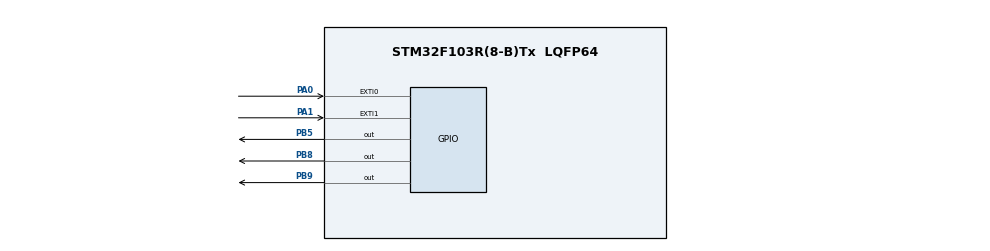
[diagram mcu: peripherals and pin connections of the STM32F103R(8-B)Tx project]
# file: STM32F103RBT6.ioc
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Mcu.Family=STM32F1
Mcu.Name=STM32F103R(8-B)Tx
Mcu.Package=LQFP64
NVIC.EXTI0_IRQn=true\:0\:0\:false\:false\:true\:true\:true\:true
NVIC.EXTI1_IRQn=true\:0\:0\:false\:false\:true\:true\:true\:true
NVIC.PriorityGroup=NVIC_PRIORITYGROUP_4
NVIC.TIM1_BRK_IRQn=true\:0\:0\:false\:false\:true\:true\:true\:true
NVIC.TIM1_CC_IRQn=true\:0\:0\:false\:false\:true\:true\:true\:true
NVIC.TIM1_TRG_COM_IRQn=true\:0\:0\:false\:false\:true\:true\:true\:true
NVIC.TIM1_UP_IRQn=true\:0\:0\:false\:false\:true\:true\:true\:true
NVIC.TIM2_IRQn=true\:0\:0\:false\:false\:true\:true\:true\:true
PA0-WKUP.Signal=GPXTI0
PA1.Signal=GPXTI1
PB5.PinState=GPIO_PIN_RESET
PB5.Signal=GPIO_Output
PB8.PinState=GPIO_PIN_RESET
PB8.Signal=GPIO_Output
PB9.PinState=GPIO_PIN_RESET
PB9.Signal=GPIO_Output
ProjectManager.HeapSize=0x200
ProjectManager.StackSize=0x400
ProjectManager.TargetToolchain=STM32CubeIDE
RCC.APB1Freq_Value=8000000
RCC.APB2Freq_Value=8000000
TIM1.Period=1000
TIM1.Prescaler=8000
TIM2.Period=1000
TIM2.Prescaler=8000
VP_SYS_VS_ND.Mode=No_Debug
VP_TIM1_VS_ClockSourceINT.Mode=Internal
VP_TIM2_VS_ClockSourceINT.Mode=Internal
board=custom

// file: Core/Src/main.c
/* USER CODE BEGIN Header */
/**
  ******************************************************************************
  * @file           : main.c
  * @brief          : Main program body
  ******************************************************************************
  * @attention
  *
  * Copyright (c) 2024 STMicroelectronics.
  * All rights reserved.
  *
  * This software is licensed under terms that can be found in the LICENSE file
  * in the root directory of this software component.
  * If no LICENSE file comes with this software, it is provided AS-IS.
  *
  ******************************************************************************
  */
/* USER CODE END Header */
#include "main.h"

TIM_HandleTypeDef htim1;
TIM_HandleTypeDef htim2;

/* USER CODE BEGIN PV */
int gA;
/* USER CODE END PV */

void SystemClock_Config(void);
static void MX_GPIO_Init(void);
static void MX_TIM1_Init(void);
static void MX_TIM2_Init(void);

/* USER CODE BEGIN 0 */
void HAL_GPIO_EXTI_Callback(uint16_t GPIO_Pin)
{
	if (GPIO_Pin = GPIO_PIN_0)		// PA0
		HAL_GPIO_WritePin(GPIOB, GPIO_PIN_5, GPIO_PIN_RESET);		// LED(Yellow) On
	if (GPIO_Pin = GPIO_PIN_1)		// PA1
		HAL_GPIO_WritePin(GPIOB, GPIO_PIN_9, GPIO_PIN_RESET);		// LED(Red) On
}

void HAL_TIM_PeriodElapsedCallback(TIM_HandleTypeDef *htim)
{
	//static uint32_t cnt=0;
	//SYSCLK == HCLK == 9Mhz
	//Prescaler == 8000. Period ==HCLK / Prescaler == 1Khz(1ms)

	if (htim->Instance == TIM1) {
		//user_deubg_timer("Timer1 Occured. \r\n");
		//HAL_GPIO_TogglePin(GPIOB, USER, GPIO_PIN_LED_1Y); // Yellow
		HAL_GPIO_WritePin(GPIOB, GPIO_PIN_8, GPIO_PIN_RESET);		// LED(Blue) On
	}

	if (htim->Instance == TIM2) {
		//user_deubg_timer("Timer1 Occured. \r\n");
		//HAL_GPIO_TogglePin(GPIOB, USER, GPIO_PIN_LED_1Y); // Yellow
		HAL_GPIO_WritePin(GPIOB, GPIO_PIN_5, GPIO_PIN_RESET);		// LED(Yellow) On
	}
}
/* USER CODE END 0 */

int main(void)
{

  /* MCU Configuration--------------------------------------------------------*/

  /* Reset of all peripherals, Initializes the Flash interface and the Systick. */
  HAL_Init();

  /* Configure the system clock */
  SystemClock_Config();

  /* Initialize all configured peripherals */
  MX_GPIO_Init();
  MX_TIM1_Init();
  MX_TIM2_Init();
  /* USER CODE BEGIN 2 */
  HAL_TIM_Base_Start_IT(&htim1);
  HAL_TIM_Base_Start_IT(&htim2);

  int a, b, c;
  a = 0;
  b = 0;
  c = 0;
  int *pa;
  /* USER CODE END 2 */

  /* Infinite loop */
  /* USER CODE BEGIN WHILE */
  while (1)
  {
	  /*
	  // LED Yellow
	  HAL_GPIO_WritePin(GPIOB, GPIO_PIN_5, GPIO_PIN_RESET);		// LED(Yellow) On
	  HAL_Delay(1000);		// 1000ms(1s)
	  HAL_GPIO_WritePin(GPIOB, GPIO_PIN_5, GPIO_PIN_SET);		// LED(Yellow) Off
	  HAL_Delay(1000);		// 1000ms(1s)
	  a++;
	  pa = &a;			// sram (stack)
	  gA++;
	  pa = &gA;			// sram (Global)
	  pa = &main;		// flash memory
	  pa = GPIOB;		// device address

	  // LED Red
	  HAL_GPIO_WritePin(GPIOB, GPIO_PIN_9, GPIO_PIN_RESET);		// LED(Red) On
	  HAL_Delay(1000);		// 1000ms(1s)
	  HAL_GPIO_WritePin(GPIOB, GPIO_PIN_9, GPIO_PIN_SET);		// LED(Red) Off
	  HAL_Delay(1000);		// 1000ms(1s)
	  b++;
	  */

	  HAL_GPIO_WritePin(GPIOB, GPIO_PIN_5, GPIO_PIN_SET);		// LED(Yellow) Off
	  HAL_GPIO_WritePin(GPIOB, GPIO_PIN_9, GPIO_PIN_SET);		// LED(Red) Off
	  HAL_GPIO_WritePin(GPIOB, GPIO_PIN_8, GPIO_PIN_SET);		// LED(Blue) Off
	  HAL_Delay(400);		// 400ms

	  /*
	  // LED Blue
	  HAL_GPIO_WritePin(GPIOB, GPIO_PIN_8, GPIO_PIN_RESET);		// LED(Blue) On
	  HAL_Delay(1000);		// 1000ms(1s)
	  HAL_GPIO_WritePin(GPIOB, GPIO_PIN_8, GPIO_PIN_SET);		// LED(Blue) Off
	  HAL_Delay(1000);		// 1000ms(1s)
	  c++;
	  */
    /* USER CODE END WHILE */

  }
}

void SystemClock_Config(void)
{
  RCC_OscInitTypeDef RCC_OscInitStruct = {0};
  RCC_ClkInitTypeDef RCC_ClkInitStruct = {0};

  /** Initializes the RCC Oscillators according to the specified parameters
  * in the RCC_OscInitTypeDef structure.
  */
  RCC_OscInitStruct.OscillatorType = RCC_OSCILLATORTYPE_HSI;
  RCC_OscInitStruct.HSIState = RCC_HSI_ON;
  RCC_OscInitStruct.HSICalibrationValue = RCC_HSICALIBRATION_DEFAULT;
  RCC_OscInitStruct.PLL.PLLState = RCC_PLL_NONE;
  if (HAL_RCC_OscConfig(&RCC_OscInitStruct) != HAL_OK)
  {
    Error_Handler();
  }

  /** Initializes the CPU, AHB and APB buses clocks
  */
  RCC_ClkInitStruct.ClockType = RCC_CLOCKTYPE_HCLK|RCC_CLOCKTYPE_SYSCLK
                              |RCC_CLOCKTYPE_PCLK1|RCC_CLOCKTYPE_PCLK2;
  RCC_ClkInitStruct.SYSCLKSource = RCC_SYSCLKSOURCE_HSI;
  RCC_ClkInitStruct.AHBCLKDivider = RCC_SYSCLK_DIV1;
  RCC_ClkInitStruct.APB1CLKDivider = RCC_HCLK_DIV1;
  RCC_ClkInitStruct.APB2CLKDivider = RCC_HCLK_DIV1;

  if (HAL_RCC_ClockConfig(&RCC_ClkInitStruct, FLASH_LATENCY_0) != HAL_OK)
  {
    Error_Handler();
  }
}

static void MX_TIM1_Init(void)
{

  TIM_ClockConfigTypeDef sClockSourceConfig = {0};
  TIM_MasterConfigTypeDef sMasterConfig = {0};

  htim1.Instance = TIM1;
  htim1.Init.Prescaler = 8000;
  htim1.Init.CounterMode = TIM_COUNTERMODE_UP;
  htim1.Init.Period = 1000;
  htim1.Init.ClockDivision = TIM_CLOCKDIVISION_DIV1;
  htim1.Init.RepetitionCounter = 0;
  htim1.Init.AutoReloadPreload = TIM_AUTORELOAD_PRELOAD_DISABLE;
  if (HAL_TIM_Base_Init(&htim1) != HAL_OK)
  {
    Error_Handler();
  }
  sClockSourceConfig.ClockSource = TIM_CLOCKSOURCE_INTERNAL;
  if (HAL_TIM_ConfigClockSource(&htim1, &sClockSourceConfig) != HAL_OK)
  {
    Error_Handler();
  }
  sMasterConfig.MasterOutputTrigger = TIM_TRGO_RESET;
  sMasterConfig.MasterSlaveMode = TIM_MASTERSLAVEMODE_DISABLE;
  if (HAL_TIMEx_MasterConfigSynchronization(&htim1, &sMasterConfig) != HAL_OK)
  {
    Error_Handler();
  }

}

static void MX_TIM2_Init(void)
{

  TIM_ClockConfigTypeDef sClockSourceConfig = {0};
  TIM_MasterConfigTypeDef sMasterConfig = {0};

  htim2.Instance = TIM2;
  htim2.Init.Prescaler = 8000;
  htim2.Init.CounterMode = TIM_COUNTERMODE_UP;
  htim2.Init.Period = 1000;
  htim2.Init.ClockDivision = TIM_CLOCKDIVISION_DIV1;
  htim2.Init.AutoReloadPreload = TIM_AUTORELOAD_PRELOAD_DISABLE;
  if (HAL_TIM_Base_Init(&htim2) != HAL_OK)
  {
    Error_Handler();
  }
  sClockSourceConfig.ClockSource = TIM_CLOCKSOURCE_INTERNAL;
  if (HAL_TIM_ConfigClockSource(&htim2, &sClockSourceConfig) != HAL_OK)
  {
    Error_Handler();
  }
  sMasterConfig.MasterOutputTrigger = TIM_TRGO_RESET;
  sMasterConfig.MasterSlaveMode = TIM_MASTERSLAVEMODE_DISABLE;
  if (HAL_TIMEx_MasterConfigSynchronization(&htim2, &sMasterConfig) != HAL_OK)
  {
    Error_Handler();
  }

}

static void MX_GPIO_Init(void)
{
  GPIO_InitTypeDef GPIO_InitStruct = {0};

  /* GPIO Ports Clock Enable */
  __HAL_RCC_GPIOA_CLK_ENABLE();
  __HAL_RCC_GPIOB_CLK_ENABLE();

  /*Configure GPIO pin Output Level */
  HAL_GPIO_WritePin(GPIOB, GPIO_PIN_5|GPIO_PIN_8|GPIO_PIN_9, GPIO_PIN_RESET);

  /*Configure GPIO pins : PA0 PA1 */
  GPIO_InitStruct.Pin = GPIO_PIN_0|GPIO_PIN_1;
  GPIO_InitStruct.Mode = GPIO_MODE_IT_RISING;
  GPIO_InitStruct.Pull = GPIO_NOPULL;
  HAL_GPIO_Init(GPIOA, &GPIO_InitStruct);

  /*Configure GPIO pins : PB5 PB8 PB9 */
  GPIO_InitStruct.Pin = GPIO_PIN_5|GPIO_PIN_8|GPIO_PIN_9;
  GPIO_InitStruct.Mode = GPIO_MODE_OUTPUT_PP;
  GPIO_InitStruct.Pull = GPIO_NOPULL;
  GPIO_InitStruct.Speed = GPIO_SPEED_FREQ_LOW;
  HAL_GPIO_Init(GPIOB, &GPIO_InitStruct);

  /* EXTI interrupt init*/
  HAL_NVIC_SetPriority(EXTI0_IRQn, 0, 0);
  HAL_NVIC_EnableIRQ(EXTI0_IRQn);

  HAL_NVIC_SetPriority(EXTI1_IRQn, 0, 0);
  HAL_NVIC_EnableIRQ(EXTI1_IRQn);

}

void Error_Handler(void)
{
  __disable_irq();
  while (1)
  {
  }
}
